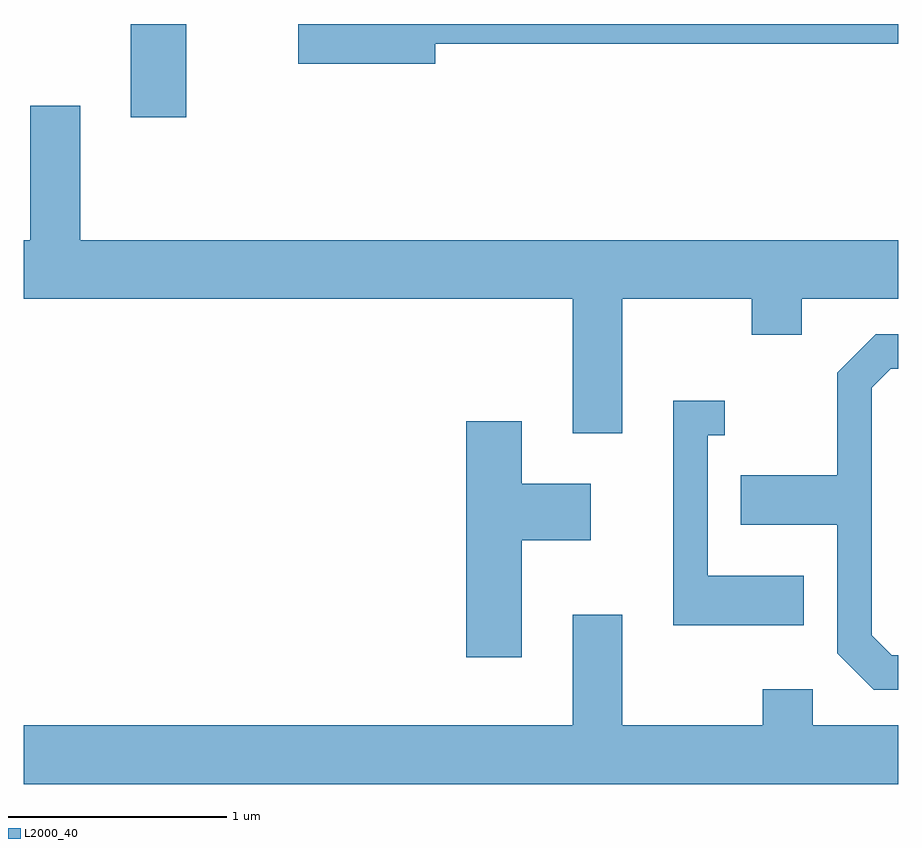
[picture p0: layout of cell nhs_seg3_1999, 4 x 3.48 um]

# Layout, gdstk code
import gdstk
lib = gdstk.Library(unit=1e-6, precision=1e-09)
def R(c, l, rs):  # rectangles x0, y0, x1, y1
    for r in rs: c.add(gdstk.rectangle(r[:2], r[2:], *l))
def P(c, l, *ps):  # polygons
    for p in ps: c.add(gdstk.Polygon(p, *l))
L2000_40 = (2000, 40)

nhs_seg3_1999 = lib.new_cell('nhs_seg3_1999')
R(nhs_seg3_1999, L2000_40, [(244.101,1173.466,244.354,1173.892)])
P(nhs_seg3_1999, L2000_40, [(245.494,1173.801),(247.611,1173.801),(247.611,1173.892),(244.866,1173.892),(244.866,1173.711),(245.494,1173.711)],
  [(243.869,1173.519),(243.641,1173.519),(243.641,1172.904),(243.611,1172.904),(243.611,1172.636),(246.121,1172.636),(246.121,1172.021),(246.349,1172.021),(246.349,1172.636),(246.941,1172.636),(246.941,1172.471),(247.169,1172.471),(247.169,1172.636),(247.611,1172.636),(247.611,1172.904),(243.869,1172.904)],
  [(247.611,1171.004),(247.582,1171.004),(247.489,1171.097),(247.489,1172.229),(247.577,1172.316),(247.611,1172.316),(247.611,1172.474),(247.509,1172.474),(247.331,1172.297),(247.331,1171.829),(246.891,1171.829),(246.891,1171.601),(247.331,1171.601),(247.331,1171.014),(247.499,1170.846),(247.611,1170.846)],
  [(247.179,1171.369),(246.739,1171.369),(246.739,1172.011),(246.818,1172.011),(246.818,1172.169),(246.581,1172.169),(246.581,1171.141),(247.179,1171.141)],
  [(245.889,1171.531),(246.204,1171.531),(246.204,1171.789),(245.889,1171.789),(245.889,1172.074),(245.636,1172.074),(245.636,1170.996),(245.889,1170.996)],
  [(247.611,1170.684),(247.219,1170.684),(247.219,1170.849),(246.991,1170.849),(246.991,1170.684),(246.349,1170.684),(246.349,1171.189),(246.121,1171.189),(246.121,1170.684),(243.611,1170.684),(243.611,1170.416),(247.611,1170.416)])

lib.write_gds('nhs_seg3_1999.gds')
